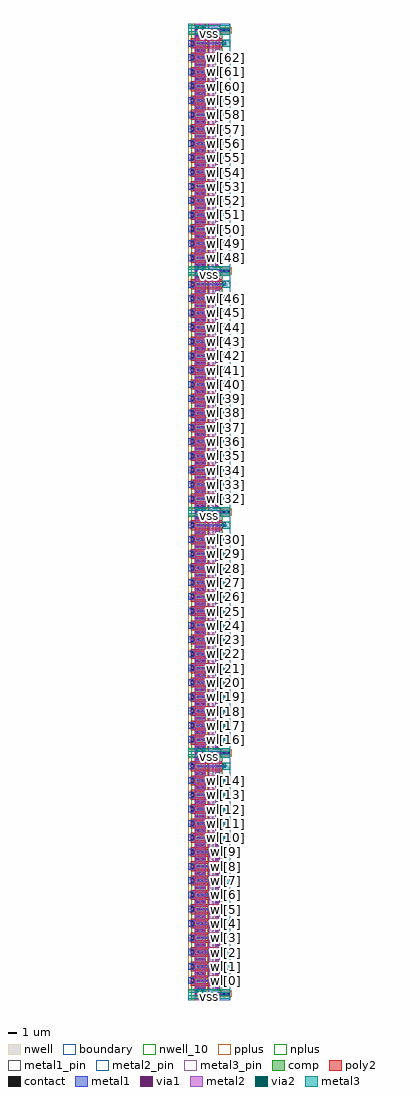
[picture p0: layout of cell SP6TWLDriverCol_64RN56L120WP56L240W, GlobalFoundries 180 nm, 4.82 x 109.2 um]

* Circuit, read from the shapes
.subckt SP6TWLDriverCol_64RN56L120WP56L240W vdd vss wl[0] wl[10] wl[11] wl[12] wl[13] wl[14] wl[15] wl[16] wl[17] wl[18] wl[19] wl[1] wl[20] wl[21] wl[22] wl[23] wl[24] wl[25] wl[26] wl[27] wl[28] wl[29] wl[2] wl[30] wl[31] wl[32] wl[33] wl[34] wl[35] wl[36] wl[37] wl[38] wl[39] wl[3] wl[40] wl[41] wl[42] wl[43] wl[44] wl[45] wl[46] wl[47] wl[48] wl[49] wl[4] wl[50] wl[51] wl[52] wl[53] wl[54] wl[55] wl[56] wl[57] wl[58] wl[59] wl[5] wl[60] wl[61] wl[62] wl[63] wl[6] wl[7] wl[8] wl[9] wl_n[0] wl_n[10] wl_n[11] wl_n[12] wl_n[13] wl_n[14] wl_n[15] wl_n[16] wl_n[17] wl_n[18] wl_n[19] wl_n[1] wl_n[20] wl_n[21] wl_n[22] wl_n[23] wl_n[24] wl_n[25] wl_n[26] wl_n[27] wl_n[28] wl_n[29] wl_n[2] wl_n[30] wl_n[31] wl_n[32] wl_n[33] wl_n[34] wl_n[35] wl_n[36] wl_n[37] wl_n[38] wl_n[39] wl_n[3] wl_n[40] wl_n[41] wl_n[42] wl_n[43] wl_n[44] wl_n[45] wl_n[46] wl_n[47] wl_n[48] wl_n[49] wl_n[4] wl_n[50] wl_n[51] wl_n[52] wl_n[53] wl_n[54] wl_n[55] wl_n[56] wl_n[57] wl_n[58] wl_n[59] wl_n[5] wl_n[60] wl_n[61] wl_n[62] wl_n[63] wl_n[6] wl_n[7] wl_n[8] wl_n[9]
XM1 wl[0] wl_n[0] vss vss nfet_03v3 w=0.6u l=0.28u m=2
XM2 wl[1] wl_n[1] vss vss nfet_03v3 w=0.6u l=0.28u m=2
XM3 wl[2] wl_n[2] vss vss nfet_03v3 w=0.6u l=0.28u m=2
XM4 wl[3] wl_n[3] vss vss nfet_03v3 w=0.6u l=0.28u m=2
XM5 wl[4] wl_n[4] vss vss nfet_03v3 w=0.6u l=0.28u m=2
XM6 wl[5] wl_n[5] vss vss nfet_03v3 w=0.6u l=0.28u m=2
XM7 wl[6] wl_n[6] vss vss nfet_03v3 w=0.6u l=0.28u m=2
XM8 wl[7] wl_n[7] vss vss nfet_03v3 w=0.6u l=0.28u m=2
XM9 wl[8] wl_n[8] vss vss nfet_03v3 w=0.6u l=0.28u m=2
XM10 wl[9] wl_n[9] vss vss nfet_03v3 w=0.6u l=0.28u m=2
XM11 wl[10] wl_n[10] vss vss nfet_03v3 w=0.6u l=0.28u m=2
XM12 wl[11] wl_n[11] vss vss nfet_03v3 w=0.6u l=0.28u m=2
XM13 wl[12] wl_n[12] vss vss nfet_03v3 w=0.6u l=0.28u m=2
XM14 wl[13] wl_n[13] vss vss nfet_03v3 w=0.6u l=0.28u m=2
XM15 wl[14] wl_n[14] vss vss nfet_03v3 w=0.6u l=0.28u m=2
XM16 wl[15] wl_n[15] vss vss nfet_03v3 w=0.6u l=0.28u m=2
XM17 wl[16] wl_n[16] vss vss nfet_03v3 w=0.6u l=0.28u m=2
XM18 wl[17] wl_n[17] vss vss nfet_03v3 w=0.6u l=0.28u m=2
XM19 wl[18] wl_n[18] vss vss nfet_03v3 w=0.6u l=0.28u m=2
XM20 wl[19] wl_n[19] vss vss nfet_03v3 w=0.6u l=0.28u m=2
XM21 wl[20] wl_n[20] vss vss nfet_03v3 w=0.6u l=0.28u m=2
XM22 wl[21] wl_n[21] vss vss nfet_03v3 w=0.6u l=0.28u m=2
XM23 wl[22] wl_n[22] vss vss nfet_03v3 w=0.6u l=0.28u m=2
XM24 wl[23] wl_n[23] vss vss nfet_03v3 w=0.6u l=0.28u m=2
XM25 wl[24] wl_n[24] vss vss nfet_03v3 w=0.6u l=0.28u m=2
XM26 wl[25] wl_n[25] vss vss nfet_03v3 w=0.6u l=0.28u m=2
XM27 wl[26] wl_n[26] vss vss nfet_03v3 w=0.6u l=0.28u m=2
XM28 wl[27] wl_n[27] vss vss nfet_03v3 w=0.6u l=0.28u m=2
XM29 wl[28] wl_n[28] vss vss nfet_03v3 w=0.6u l=0.28u m=2
XM30 wl[29] wl_n[29] vss vss nfet_03v3 w=0.6u l=0.28u m=2
XM31 wl[30] wl_n[30] vss vss nfet_03v3 w=0.6u l=0.28u m=2
XM32 wl[31] wl_n[31] vss vss nfet_03v3 w=0.6u l=0.28u m=2
XM33 wl[32] wl_n[32] vss vss nfet_03v3 w=0.6u l=0.28u m=2
XM34 wl[33] wl_n[33] vss vss nfet_03v3 w=0.6u l=0.28u m=2
XM35 wl[34] wl_n[34] vss vss nfet_03v3 w=0.6u l=0.28u m=2
XM36 wl[35] wl_n[35] vss vss nfet_03v3 w=0.6u l=0.28u m=2
XM37 wl[36] wl_n[36] vss vss nfet_03v3 w=0.6u l=0.28u m=2
XM38 wl[37] wl_n[37] vss vss nfet_03v3 w=0.6u l=0.28u m=2
XM39 wl[38] wl_n[38] vss vss nfet_03v3 w=0.6u l=0.28u m=2
XM40 wl[39] wl_n[39] vss vss nfet_03v3 w=0.6u l=0.28u m=2
XM41 wl[40] wl_n[40] vss vss nfet_03v3 w=0.6u l=0.28u m=2
XM42 wl[41] wl_n[41] vss vss nfet_03v3 w=0.6u l=0.28u m=2
XM43 wl[42] wl_n[42] vss vss nfet_03v3 w=0.6u l=0.28u m=2
XM44 wl[43] wl_n[43] vss vss nfet_03v3 w=0.6u l=0.28u m=2
XM45 wl[44] wl_n[44] vss vss nfet_03v3 w=0.6u l=0.28u m=2
XM46 wl[45] wl_n[45] vss vss nfet_03v3 w=0.6u l=0.28u m=2
XM47 wl[46] wl_n[46] vss vss nfet_03v3 w=0.6u l=0.28u m=2
XM48 wl[47] wl_n[47] vss vss nfet_03v3 w=0.6u l=0.28u m=2
XM49 wl[48] wl_n[48] vss vss nfet_03v3 w=0.6u l=0.28u m=2
XM50 wl[49] wl_n[49] vss vss nfet_03v3 w=0.6u l=0.28u m=2
XM51 wl[50] wl_n[50] vss vss nfet_03v3 w=0.6u l=0.28u m=2
XM52 wl[51] wl_n[51] vss vss nfet_03v3 w=0.6u l=0.28u m=2
XM53 wl[52] wl_n[52] vss vss nfet_03v3 w=0.6u l=0.28u m=2
XM54 wl[53] wl_n[53] vss vss nfet_03v3 w=0.6u l=0.28u m=2
XM55 wl[54] wl_n[54] vss vss nfet_03v3 w=0.6u l=0.28u m=2
XM56 wl[55] wl_n[55] vss vss nfet_03v3 w=0.6u l=0.28u m=2
XM57 wl[56] wl_n[56] vss vss nfet_03v3 w=0.6u l=0.28u m=2
XM58 wl[57] wl_n[57] vss vss nfet_03v3 w=0.6u l=0.28u m=2
XM59 wl[58] wl_n[58] vss vss nfet_03v3 w=0.6u l=0.28u m=2
XM60 wl[59] wl_n[59] vss vss nfet_03v3 w=0.6u l=0.28u m=2
XM61 wl[60] wl_n[60] vss vss nfet_03v3 w=0.6u l=0.28u m=2
XM62 wl[61] wl_n[61] vss vss nfet_03v3 w=0.6u l=0.28u m=2
XM63 wl[62] wl_n[62] vss vss nfet_03v3 w=0.6u l=0.28u m=2
XM64 wl[63] wl_n[63] vss vss nfet_03v3 w=0.6u l=0.28u m=2
XM65 wl[0] wl_n[0] vdd vdd pfet_03v3 w=1.2u l=0.28u m=2
XM66 wl[1] wl_n[1] vdd vdd pfet_03v3 w=1.2u l=0.28u m=2
XM67 wl[2] wl_n[2] vdd vdd pfet_03v3 w=1.2u l=0.28u m=2
XM68 wl[3] wl_n[3] vdd vdd pfet_03v3 w=1.2u l=0.28u m=2
XM69 wl[4] wl_n[4] vdd vdd pfet_03v3 w=1.2u l=0.28u m=2
XM70 wl[5] wl_n[5] vdd vdd pfet_03v3 w=1.2u l=0.28u m=2
XM71 wl[6] wl_n[6] vdd vdd pfet_03v3 w=1.2u l=0.28u m=2
XM72 wl[7] wl_n[7] vdd vdd pfet_03v3 w=1.2u l=0.28u m=2
XM73 wl[8] wl_n[8] vdd vdd pfet_03v3 w=1.2u l=0.28u m=2
XM74 wl[9] wl_n[9] vdd vdd pfet_03v3 w=1.2u l=0.28u m=2
XM75 wl[10] wl_n[10] vdd vdd pfet_03v3 w=1.2u l=0.28u m=2
XM76 wl[11] wl_n[11] vdd vdd pfet_03v3 w=1.2u l=0.28u m=2
XM77 wl[12] wl_n[12] vdd vdd pfet_03v3 w=1.2u l=0.28u m=2
XM78 wl[13] wl_n[13] vdd vdd pfet_03v3 w=1.2u l=0.28u m=2
XM79 wl[14] wl_n[14] vdd vdd pfet_03v3 w=1.2u l=0.28u m=2
XM80 wl[15] wl_n[15] vdd vdd pfet_03v3 w=1.2u l=0.28u m=2
XM81 wl[16] wl_n[16] vdd vdd pfet_03v3 w=1.2u l=0.28u m=2
XM82 wl[17] wl_n[17] vdd vdd pfet_03v3 w=1.2u l=0.28u m=2
XM83 wl[18] wl_n[18] vdd vdd pfet_03v3 w=1.2u l=0.28u m=2
XM84 wl[19] wl_n[19] vdd vdd pfet_03v3 w=1.2u l=0.28u m=2
XM85 wl[20] wl_n[20] vdd vdd pfet_03v3 w=1.2u l=0.28u m=2
XM86 wl[21] wl_n[21] vdd vdd pfet_03v3 w=1.2u l=0.28u m=2
XM87 wl[22] wl_n[22] vdd vdd pfet_03v3 w=1.2u l=0.28u m=2
XM88 wl[23] wl_n[23] vdd vdd pfet_03v3 w=1.2u l=0.28u m=2
XM89 wl[24] wl_n[24] vdd vdd pfet_03v3 w=1.2u l=0.28u m=2
XM90 wl[25] wl_n[25] vdd vdd pfet_03v3 w=1.2u l=0.28u m=2
XM91 wl[26] wl_n[26] vdd vdd pfet_03v3 w=1.2u l=0.28u m=2
XM92 wl[27] wl_n[27] vdd vdd pfet_03v3 w=1.2u l=0.28u m=2
XM93 wl[28] wl_n[28] vdd vdd pfet_03v3 w=1.2u l=0.28u m=2
XM94 wl[29] wl_n[29] vdd vdd pfet_03v3 w=1.2u l=0.28u m=2
XM95 wl[30] wl_n[30] vdd vdd pfet_03v3 w=1.2u l=0.28u m=2
XM96 wl[31] wl_n[31] vdd vdd pfet_03v3 w=1.2u l=0.28u m=2
XM97 wl[32] wl_n[32] vdd vdd pfet_03v3 w=1.2u l=0.28u m=2
XM98 wl[33] wl_n[33] vdd vdd pfet_03v3 w=1.2u l=0.28u m=2
XM99 wl[34] wl_n[34] vdd vdd pfet_03v3 w=1.2u l=0.28u m=2
XM100 wl[35] wl_n[35] vdd vdd pfet_03v3 w=1.2u l=0.28u m=2
XM101 wl[36] wl_n[36] vdd vdd pfet_03v3 w=1.2u l=0.28u m=2
XM102 wl[37] wl_n[37] vdd vdd pfet_03v3 w=1.2u l=0.28u m=2
XM103 wl[38] wl_n[38] vdd vdd pfet_03v3 w=1.2u l=0.28u m=2
XM104 wl[39] wl_n[39] vdd vdd pfet_03v3 w=1.2u l=0.28u m=2
XM105 wl[40] wl_n[40] vdd vdd pfet_03v3 w=1.2u l=0.28u m=2
XM106 wl[41] wl_n[41] vdd vdd pfet_03v3 w=1.2u l=0.28u m=2
XM107 wl[42] wl_n[42] vdd vdd pfet_03v3 w=1.2u l=0.28u m=2
XM108 wl[43] wl_n[43] vdd vdd pfet_03v3 w=1.2u l=0.28u m=2
XM109 wl[44] wl_n[44] vdd vdd pfet_03v3 w=1.2u l=0.28u m=2
XM110 wl[45] wl_n[45] vdd vdd pfet_03v3 w=1.2u l=0.28u m=2
XM111 wl[46] wl_n[46] vdd vdd pfet_03v3 w=1.2u l=0.28u m=2
XM112 wl[47] wl_n[47] vdd vdd pfet_03v3 w=1.2u l=0.28u m=2
XM113 wl[48] wl_n[48] vdd vdd pfet_03v3 w=1.2u l=0.28u m=2
XM114 wl[49] wl_n[49] vdd vdd pfet_03v3 w=1.2u l=0.28u m=2
XM115 wl[50] wl_n[50] vdd vdd pfet_03v3 w=1.2u l=0.28u m=2
XM116 wl[51] wl_n[51] vdd vdd pfet_03v3 w=1.2u l=0.28u m=2
XM117 wl[52] wl_n[52] vdd vdd pfet_03v3 w=1.2u l=0.28u m=2
XM118 wl[53] wl_n[53] vdd vdd pfet_03v3 w=1.2u l=0.28u m=2
XM119 wl[54] wl_n[54] vdd vdd pfet_03v3 w=1.2u l=0.28u m=2
XM120 wl[55] wl_n[55] vdd vdd pfet_03v3 w=1.2u l=0.28u m=2
XM121 wl[56] wl_n[56] vdd vdd pfet_03v3 w=1.2u l=0.28u m=2
XM122 wl[57] wl_n[57] vdd vdd pfet_03v3 w=1.2u l=0.28u m=2
XM123 wl[58] wl_n[58] vdd vdd pfet_03v3 w=1.2u l=0.28u m=2
XM124 wl[59] wl_n[59] vdd vdd pfet_03v3 w=1.2u l=0.28u m=2
XM125 wl[60] wl_n[60] vdd vdd pfet_03v3 w=1.2u l=0.28u m=2
XM126 wl[61] wl_n[61] vdd vdd pfet_03v3 w=1.2u l=0.28u m=2
XM127 wl[62] wl_n[62] vdd vdd pfet_03v3 w=1.2u l=0.28u m=2
XM128 wl[63] wl_n[63] vdd vdd pfet_03v3 w=1.2u l=0.28u m=2
.ends

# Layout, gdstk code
import gdstk
lib = gdstk.Library(unit=1e-6, precision=1e-09)
def R(c, l, rs):  # rectangles x0, y0, x1, y1
    for r in rs: c.add(gdstk.rectangle(r[:2], r[2:], *l))
def A(c, l, x, y, w, h, nx, ny, dx, dy):  # array of equal rectangles
    R(c, l, [(x+i*dx, y+j*dy, x+i*dx+w, y+j*dy+h) for i in range(nx) for j in range(ny)])
def P(c, l, *ps):  # polygons
    for p in ps: c.add(gdstk.Polygon(p, *l))
boundary = (0, 0)
nwell = (21, 0)
nwell_10 = (21, 10)
comp = (22, 0)
poly2 = (30, 0)
pplus = (31, 0)
nplus = (32, 0)
contact = (33, 0)
metal1 = (34, 0)
metal1_pin = (34, 10)
via1 = (35, 0)
metal2 = (36, 0)
metal2_pin = (36, 10)
via2 = (38, 0)
metal3 = (42, 0)
metal3_pin = (42, 10)

sp6twldriverbc_n56l120wp = lib.new_cell('SP6TWLDriverBC_N56L120WP56L240W')
R(sp6twldriverbc_n56l120wp, boundary, [(-4.66,0,0,1.36)])
R(sp6twldriverbc_n56l120wp, nwell, [(-4.37,0,-2.31,1.36)])
R(sp6twldriverbc_n56l120wp, nwell_10, [(-4.37,0,-2.31,1.36)])
R(sp6twldriverbc_n56l120wp, comp, [(-3.77,0.5,-2.91,0.86), (-0.86,0.5,0,0.86)])
R(sp6twldriverbc_n56l120wp, pplus, [(-1.02,0.34,0.16,1.02)])
R(sp6twldriverbc_n56l120wp, nplus, [(-3.93,0.34,-2.75,1.02)])
R(sp6twldriverbc_n56l120wp, contact, [(-3.7,0.57,-3.48,0.79), (-3.2,0.57,-2.98,0.79), (-0.79,0.57,-0.57,0.79), (-0.29,0.57,-0.07,0.79)])
R(sp6twldriverbc_n56l120wp, metal1, [(-3.84,0.55,-2.84,0.81)])
P(sp6twldriverbc_n56l120wp, metal1, [(-2.275,0.55),(-2.275,0.81),(-1.275,0.81),(-1.275,0.795),(0,0.795),(0,0.565),(-1.275,0.565),(-1.275,0.55)])
R(sp6twldriverbc_n56l120wp, via1, [(-3.78,0.55,-3.52,0.81), (-3.16,0.55,-2.9,0.81), (-2.215,0.55,-1.955,0.81), (-1.595,0.55,-1.335,0.81)])
R(sp6twldriverbc_n56l120wp, metal2, [(-3.94,0,-2.74,1.36), (-2.46,0,-1.09,1.36)])
R(sp6twldriverbc_n56l120wp, metal2_pin, [(-3.94,0,-2.74,1.36), (-2.46,0,-1.09,1.36)])
R(sp6twldriverbc_n56l120wp, via2, [(-2.215,0.21,-1.955,0.47), (-1.595,0.21,-1.335,0.47), (-3.78,0.89,-3.52,1.15), (-3.16,0.89,-2.9,1.15)])
R(sp6twldriverbc_n56l120wp, metal3, [(-4.66,0.14,0,0.54), (-4.66,0.82,0,1.22)])
R(sp6twldriverbc_n56l120wp, metal3_pin, [(-4.66,0.14,0,0.54), (-4.66,0.82,0,1.22)])
sp6twldriverbc_n56l120wp.add(gdstk.Label('vss', (-2.33,0.34), layer=42, texttype=10))
sp6twldriverbc_n56l120wp.add(gdstk.Label('vdd', (-2.33,1.02), layer=42, texttype=10))
sp6twldriverbc_n56l120wp.add(gdstk.Label('vss', (-1.775,0.68), layer=36, texttype=10))
sp6twldriverbc_n56l120wp.add(gdstk.Label('vdd', (-3.34,0.68), layer=36, texttype=10))
sp6twldriverbc_n56l120wp.add(gdstk.Label('vdd', (-3.34,0.68), layer=21, texttype=10))

sp6twldriver_n56l120wp56 = lib.new_cell('SP6TWLDriver_N56L120WP56L240W')
R(sp6twldriver_n56l120wp56, boundary, [(-4.66,0,0,1.6)])
R(sp6twldriver_n56l120wp56, nwell, [(-4.37,-0.61,-2.31,2.21)])
R(sp6twldriver_n56l120wp56, nwell_10, [(-4.37,-0.61,-2.31,2.21)])
R(sp6twldriver_n56l120wp56, comp, [(-3.94,-0.18,-2.74,1.78), (-3.94,-0.18,-2.74,1.78), (-1.69,-0.18,-1.09,1.78), (-1.69,-0.18,-1.09,1.78)])
P(sp6twldriver_n56l120wp56, poly2, [(-4.4,0.26),(-4.4,1.34),(-0.87,1.34),(-0.87,1.06),(-4.04,1.06),(-4.04,0.54),(-0.87,0.54),(-0.87,0.26)])
R(sp6twldriver_n56l120wp56, pplus, [(-4.66,-0.34,-2.51,1.94)])
R(sp6twldriver_n56l120wp56, nplus, [(-1.92,-0.34,-0.86,1.94)])
A(sp6twldriver_n56l120wp56, contact, -3.7, -0.11, 0.22, 0.22, 1, 3, 0, 0.8)
A(sp6twldriver_n56l120wp56, contact, -3.2, -0.11, 0.22, 0.22, 1, 3, 0, 0.8)
A(sp6twldriver_n56l120wp56, contact, -1.5, -0.11, 0.22, 0.22, 1, 3, 0, 0.8)
R(sp6twldriver_n56l120wp56, contact, [(-4.33,0.44,-4.11,0.66), (-4.33,0.94,-4.11,1.16)])
R(sp6twldriver_n56l120wp56, metal1, [(-3.94,-0.13,-2.74,0.13), (-1.69,-0.13,-1.09,0.13), (-4.66,0.435,-4.05,1.165), (-3.76,0.67,-0.43,0.93), (-3.94,1.47,-2.74,1.73), (-1.69,1.47,-1.09,1.73)])
R(sp6twldriver_n56l120wp56, metal1_pin, [(-4.66,0.435,-4.05,1.165)])
R(sp6twldriver_n56l120wp56, via1, [(-3.78,-0.13,-3.52,0.13), (-3.16,-0.13,-2.9,0.13), (-1.52,-0.13,-1.26,0.13), (-0.75,0.67,-0.49,0.93), (-3.78,1.47,-3.52,1.73), (-3.16,1.47,-2.9,1.73), (-1.52,1.47,-1.26,1.73)])
R(sp6twldriver_n56l120wp56, metal2, [(-3.94,-0.14,-2.74,1.74), (-2.46,-0.14,-1.09,1.74), (-0.76,0.61,-0.48,1.13)])
R(sp6twldriver_n56l120wp56, metal2_pin, [(-3.94,-0.14,-2.74,1.74), (-2.46,-0.14,-1.09,1.74)])
R(sp6twldriver_n56l120wp56, via2, [(-0.75,0.67,-0.49,0.93)])
R(sp6twldriver_n56l120wp56, metal3, [(-0.81,0.42,0,1.18)])
R(sp6twldriver_n56l120wp56, metal3_pin, [(-0.81,0.42,0,1.18)])
sp6twldriver_n56l120wp56.add(gdstk.Label('wl_drive', (-0.405,0.8), layer=42, texttype=10))
sp6twldriver_n56l120wp56.add(gdstk.Label('vss', (-1.775,0.8), layer=36, texttype=10))
sp6twldriver_n56l120wp56.add(gdstk.Label('vdd', (-3.34,0.8), layer=36, texttype=10))
sp6twldriver_n56l120wp56.add(gdstk.Label('wl_n', (-4.355,0.8), layer=34, texttype=10))
sp6twldriver_n56l120wp56.add(gdstk.Label('nwell', (-3.34,0.8), layer=21, texttype=10))

sp6twldrivercol_64rn56l1 = lib.new_cell('SP6TWLDriverCol_64RN56L120WP56L240W')
R(sp6twldrivercol_64rn56l1, boundary, [(0,0,4.66,109.2)])
A(sp6twldrivercol_64rn56l1, metal1, 0, 1.795, 0.61, 0.73, 1, 16, 0, 1.6)
A(sp6twldrivercol_64rn56l1, metal1, 0, 28.755, 0.61, 0.73, 1, 16, 0, 1.6)
A(sp6twldrivercol_64rn56l1, metal1, 0, 55.715, 0.61, 0.73, 1, 16, 0, 1.6)
A(sp6twldrivercol_64rn56l1, metal1, 0, 82.675, 0.61, 0.73, 1, 16, 0, 1.6)
A(sp6twldrivercol_64rn56l1, metal1_pin, 0, 1.795, 0.61, 0.73, 1, 16, 0, 1.6)
A(sp6twldrivercol_64rn56l1, metal1_pin, 0, 28.755, 0.61, 0.73, 1, 16, 0, 1.6)
A(sp6twldrivercol_64rn56l1, metal1_pin, 0, 55.715, 0.61, 0.73, 1, 16, 0, 1.6)
A(sp6twldrivercol_64rn56l1, metal1_pin, 0, 82.675, 0.61, 0.73, 1, 16, 0, 1.6)
R(sp6twldrivercol_64rn56l1, metal2, [(0.72,0,1.92,109.2), (2.2,0,3.57,109.2)])
R(sp6twldrivercol_64rn56l1, metal2_pin, [(0.72,0,1.92,109.2), (2.2,0,3.57,109.2)])
A(sp6twldrivercol_64rn56l1, metal3, 3.85, 1.78, 0.81, 0.76, 1, 16, 0, 1.6)
A(sp6twldrivercol_64rn56l1, metal3, 3.85, 28.74, 0.81, 0.76, 1, 16, 0, 1.6)
A(sp6twldrivercol_64rn56l1, metal3, 3.85, 55.7, 0.81, 0.76, 1, 16, 0, 1.6)
A(sp6twldrivercol_64rn56l1, metal3, 3.85, 82.66, 0.81, 0.76, 1, 16, 0, 1.6)
R(sp6twldrivercol_64rn56l1, metal3, [(0,0.14,4.66,0.54), (0,0.82,4.66,1.22), (0,27.1,4.66,27.5), (0,27.78,4.66,28.18), (0,54.06,4.66,54.46), (0,54.74,4.66,55.14), (0,81.02,4.66,81.42), (0,81.7,4.66,82.1), (0,107.98,4.66,108.38), (0,108.66,4.66,109.06)])
A(sp6twldrivercol_64rn56l1, metal3_pin, 3.85, 1.78, 0.81, 0.76, 1, 16, 0, 1.6)
A(sp6twldrivercol_64rn56l1, metal3_pin, 3.85, 28.74, 0.81, 0.76, 1, 16, 0, 1.6)
A(sp6twldrivercol_64rn56l1, metal3_pin, 3.85, 55.7, 0.81, 0.76, 1, 16, 0, 1.6)
A(sp6twldrivercol_64rn56l1, metal3_pin, 3.85, 82.66, 0.81, 0.76, 1, 16, 0, 1.6)
R(sp6twldrivercol_64rn56l1, metal3_pin, [(0,0.14,4.66,0.54), (0,0.82,4.66,1.22), (0,27.1,4.66,27.5), (0,27.78,4.66,28.18), (0,54.06,4.66,54.46), (0,54.74,4.66,55.14), (0,81.02,4.66,81.42), (0,81.7,4.66,82.1), (0,107.98,4.66,108.38), (0,108.66,4.66,109.06)])
sp6twldrivercol_64rn56l1.add(gdstk.Reference(sp6twldriverbc_n56l120wp, (4.66,0)))
sp6twldrivercol_64rn56l1.add(gdstk.Reference(sp6twldriver_n56l120wp56, (4.66,2.96), x_reflection=True))
sp6twldrivercol_64rn56l1.add(gdstk.Reference(sp6twldriver_n56l120wp56, (4.66,2.96)))
sp6twldrivercol_64rn56l1.add(gdstk.Reference(sp6twldriver_n56l120wp56, (4.66,6.16), x_reflection=True))
sp6twldrivercol_64rn56l1.add(gdstk.Reference(sp6twldriver_n56l120wp56, (4.66,6.16)))
sp6twldrivercol_64rn56l1.add(gdstk.Reference(sp6twldriver_n56l120wp56, (4.66,9.36), x_reflection=True))
sp6twldrivercol_64rn56l1.add(gdstk.Reference(sp6twldriver_n56l120wp56, (4.66,9.36)))
sp6twldrivercol_64rn56l1.add(gdstk.Reference(sp6twldriver_n56l120wp56, (4.66,12.56), x_reflection=True))
sp6twldrivercol_64rn56l1.add(gdstk.Reference(sp6twldriver_n56l120wp56, (4.66,12.56)))
sp6twldrivercol_64rn56l1.add(gdstk.Reference(sp6twldriver_n56l120wp56, (4.66,15.76), x_reflection=True))
sp6twldrivercol_64rn56l1.add(gdstk.Reference(sp6twldriver_n56l120wp56, (4.66,15.76)))
sp6twldrivercol_64rn56l1.add(gdstk.Reference(sp6twldriver_n56l120wp56, (4.66,18.96), x_reflection=True))
sp6twldrivercol_64rn56l1.add(gdstk.Reference(sp6twldriver_n56l120wp56, (4.66,18.96)))
sp6twldrivercol_64rn56l1.add(gdstk.Reference(sp6twldriver_n56l120wp56, (4.66,22.16), x_reflection=True))
sp6twldrivercol_64rn56l1.add(gdstk.Reference(sp6twldriver_n56l120wp56, (4.66,22.16)))
sp6twldrivercol_64rn56l1.add(gdstk.Reference(sp6twldriver_n56l120wp56, (4.66,25.36), x_reflection=True))
sp6twldrivercol_64rn56l1.add(gdstk.Reference(sp6twldriver_n56l120wp56, (4.66,25.36)))
sp6twldrivercol_64rn56l1.add(gdstk.Reference(sp6twldriverbc_n56l120wp, (4.66,26.96)))
sp6twldrivercol_64rn56l1.add(gdstk.Reference(sp6twldriver_n56l120wp56, (4.66,29.92), x_reflection=True))
sp6twldrivercol_64rn56l1.add(gdstk.Reference(sp6twldriver_n56l120wp56, (4.66,29.92)))
sp6twldrivercol_64rn56l1.add(gdstk.Reference(sp6twldriver_n56l120wp56, (4.66,33.12), x_reflection=True))
sp6twldrivercol_64rn56l1.add(gdstk.Reference(sp6twldriver_n56l120wp56, (4.66,33.12)))
sp6twldrivercol_64rn56l1.add(gdstk.Reference(sp6twldriver_n56l120wp56, (4.66,36.32), x_reflection=True))
sp6twldrivercol_64rn56l1.add(gdstk.Reference(sp6twldriver_n56l120wp56, (4.66,36.32)))
sp6twldrivercol_64rn56l1.add(gdstk.Reference(sp6twldriver_n56l120wp56, (4.66,39.52), x_reflection=True))
sp6twldrivercol_64rn56l1.add(gdstk.Reference(sp6twldriver_n56l120wp56, (4.66,39.52)))
sp6twldrivercol_64rn56l1.add(gdstk.Reference(sp6twldriver_n56l120wp56, (4.66,42.72), x_reflection=True))
sp6twldrivercol_64rn56l1.add(gdstk.Reference(sp6twldriver_n56l120wp56, (4.66,42.72)))
sp6twldrivercol_64rn56l1.add(gdstk.Reference(sp6twldriver_n56l120wp56, (4.66,45.92), x_reflection=True))
sp6twldrivercol_64rn56l1.add(gdstk.Reference(sp6twldriver_n56l120wp56, (4.66,45.92)))
sp6twldrivercol_64rn56l1.add(gdstk.Reference(sp6twldriver_n56l120wp56, (4.66,49.12), x_reflection=True))
sp6twldrivercol_64rn56l1.add(gdstk.Reference(sp6twldriver_n56l120wp56, (4.66,49.12)))
sp6twldrivercol_64rn56l1.add(gdstk.Reference(sp6twldriver_n56l120wp56, (4.66,52.32), x_reflection=True))
sp6twldrivercol_64rn56l1.add(gdstk.Reference(sp6twldriver_n56l120wp56, (4.66,52.32)))
sp6twldrivercol_64rn56l1.add(gdstk.Reference(sp6twldriverbc_n56l120wp, (4.66,53.92)))
sp6twldrivercol_64rn56l1.add(gdstk.Reference(sp6twldriver_n56l120wp56, (4.66,56.88), x_reflection=True))
sp6twldrivercol_64rn56l1.add(gdstk.Reference(sp6twldriver_n56l120wp56, (4.66,56.88)))
sp6twldrivercol_64rn56l1.add(gdstk.Reference(sp6twldriver_n56l120wp56, (4.66,60.08), x_reflection=True))
sp6twldrivercol_64rn56l1.add(gdstk.Reference(sp6twldriver_n56l120wp56, (4.66,60.08)))
sp6twldrivercol_64rn56l1.add(gdstk.Reference(sp6twldriver_n56l120wp56, (4.66,63.28), x_reflection=True))
sp6twldrivercol_64rn56l1.add(gdstk.Reference(sp6twldriver_n56l120wp56, (4.66,63.28)))
sp6twldrivercol_64rn56l1.add(gdstk.Reference(sp6twldriver_n56l120wp56, (4.66,66.48), x_reflection=True))
sp6twldrivercol_64rn56l1.add(gdstk.Reference(sp6twldriver_n56l120wp56, (4.66,66.48)))
sp6twldrivercol_64rn56l1.add(gdstk.Reference(sp6twldriver_n56l120wp56, (4.66,69.68), x_reflection=True))
sp6twldrivercol_64rn56l1.add(gdstk.Reference(sp6twldriver_n56l120wp56, (4.66,69.68)))
sp6twldrivercol_64rn56l1.add(gdstk.Reference(sp6twldriver_n56l120wp56, (4.66,72.88), x_reflection=True))
sp6twldrivercol_64rn56l1.add(gdstk.Reference(sp6twldriver_n56l120wp56, (4.66,72.88)))
sp6twldrivercol_64rn56l1.add(gdstk.Reference(sp6twldriver_n56l120wp56, (4.66,76.08), x_reflection=True))
sp6twldrivercol_64rn56l1.add(gdstk.Reference(sp6twldriver_n56l120wp56, (4.66,76.08)))
sp6twldrivercol_64rn56l1.add(gdstk.Reference(sp6twldriver_n56l120wp56, (4.66,79.28), x_reflection=True))
sp6twldrivercol_64rn56l1.add(gdstk.Reference(sp6twldriver_n56l120wp56, (4.66,79.28)))
sp6twldrivercol_64rn56l1.add(gdstk.Reference(sp6twldriverbc_n56l120wp, (4.66,80.88)))
sp6twldrivercol_64rn56l1.add(gdstk.Reference(sp6twldriver_n56l120wp56, (4.66,83.84), x_reflection=True))
sp6twldrivercol_64rn56l1.add(gdstk.Reference(sp6twldriver_n56l120wp56, (4.66,83.84)))
sp6twldrivercol_64rn56l1.add(gdstk.Reference(sp6twldriver_n56l120wp56, (4.66,87.04), x_reflection=True))
sp6twldrivercol_64rn56l1.add(gdstk.Reference(sp6twldriver_n56l120wp56, (4.66,87.04)))
sp6twldrivercol_64rn56l1.add(gdstk.Reference(sp6twldriver_n56l120wp56, (4.66,90.24), x_reflection=True))
sp6twldrivercol_64rn56l1.add(gdstk.Reference(sp6twldriver_n56l120wp56, (4.66,90.24)))
sp6twldrivercol_64rn56l1.add(gdstk.Reference(sp6twldriver_n56l120wp56, (4.66,93.44), x_reflection=True))
sp6twldrivercol_64rn56l1.add(gdstk.Reference(sp6twldriver_n56l120wp56, (4.66,93.44)))
sp6twldrivercol_64rn56l1.add(gdstk.Reference(sp6twldriver_n56l120wp56, (4.66,96.64), x_reflection=True))
sp6twldrivercol_64rn56l1.add(gdstk.Reference(sp6twldriver_n56l120wp56, (4.66,96.64)))
sp6twldrivercol_64rn56l1.add(gdstk.Reference(sp6twldriver_n56l120wp56, (4.66,99.84), x_reflection=True))
sp6twldrivercol_64rn56l1.add(gdstk.Reference(sp6twldriver_n56l120wp56, (4.66,99.84)))
sp6twldrivercol_64rn56l1.add(gdstk.Reference(sp6twldriver_n56l120wp56, (4.66,103.04), x_reflection=True))
sp6twldrivercol_64rn56l1.add(gdstk.Reference(sp6twldriver_n56l120wp56, (4.66,103.04)))
sp6twldrivercol_64rn56l1.add(gdstk.Reference(sp6twldriver_n56l120wp56, (4.66,106.24), x_reflection=True))
sp6twldrivercol_64rn56l1.add(gdstk.Reference(sp6twldriver_n56l120wp56, (4.66,106.24)))
sp6twldrivercol_64rn56l1.add(gdstk.Reference(sp6twldriverbc_n56l120wp, (4.66,107.84)))
sp6twldrivercol_64rn56l1.add(gdstk.Label('vss', (2.33,0.34), layer=42, texttype=10))
sp6twldrivercol_64rn56l1.add(gdstk.Label('vss', (2.33,81.22), layer=42, texttype=10))
sp6twldrivercol_64rn56l1.add(gdstk.Label('vss', (2.33,54.26), layer=42, texttype=10))
sp6twldrivercol_64rn56l1.add(gdstk.Label('vss', (2.33,27.3), layer=42, texttype=10))
sp6twldrivercol_64rn56l1.add(gdstk.Label('vss', (2.33,108.18), layer=42, texttype=10))
sp6twldrivercol_64rn56l1.add(gdstk.Label('vdd', (2.33,1.02), layer=42, texttype=10))
sp6twldrivercol_64rn56l1.add(gdstk.Label('vdd', (2.33,108.86), layer=42, texttype=10))
sp6twldrivercol_64rn56l1.add(gdstk.Label('vdd', (2.33,81.9), layer=42, texttype=10))
sp6twldrivercol_64rn56l1.add(gdstk.Label('vdd', (2.33,54.94), layer=42, texttype=10))
sp6twldrivercol_64rn56l1.add(gdstk.Label('vdd', (2.33,27.98), layer=42, texttype=10))
sp6twldrivercol_64rn56l1.add(gdstk.Label('wl[0]', (4.255,2.16), layer=42, texttype=10))
sp6twldrivercol_64rn56l1.add(gdstk.Label('wl[1]', (4.255,3.76), layer=42, texttype=10))
sp6twldrivercol_64rn56l1.add(gdstk.Label('wl[2]', (4.255,5.36), layer=42, texttype=10))
sp6twldrivercol_64rn56l1.add(gdstk.Label('wl[3]', (4.255,6.96), layer=42, texttype=10))
sp6twldrivercol_64rn56l1.add(gdstk.Label('wl[4]', (4.255,8.56), layer=42, texttype=10))
sp6twldrivercol_64rn56l1.add(gdstk.Label('wl[5]', (4.255,10.16), layer=42, texttype=10))
sp6twldrivercol_64rn56l1.add(gdstk.Label('wl[6]', (4.255,11.76), layer=42, texttype=10))
sp6twldrivercol_64rn56l1.add(gdstk.Label('wl[7]', (4.255,13.36), layer=42, texttype=10))
sp6twldrivercol_64rn56l1.add(gdstk.Label('wl[8]', (4.255,14.96), layer=42, texttype=10))
sp6twldrivercol_64rn56l1.add(gdstk.Label('wl[9]', (4.255,16.56), layer=42, texttype=10))
sp6twldrivercol_64rn56l1.add(gdstk.Label('wl[10]', (4.255,18.16), layer=42, texttype=10))
sp6twldrivercol_64rn56l1.add(gdstk.Label('wl[11]', (4.255,19.76), layer=42, texttype=10))
sp6twldrivercol_64rn56l1.add(gdstk.Label('wl[12]', (4.255,21.36), layer=42, texttype=10))
sp6twldrivercol_64rn56l1.add(gdstk.Label('wl[13]', (4.255,22.96), layer=42, texttype=10))
sp6twldrivercol_64rn56l1.add(gdstk.Label('wl[14]', (4.255,24.56), layer=42, texttype=10))
sp6twldrivercol_64rn56l1.add(gdstk.Label('wl[15]', (4.255,26.16), layer=42, texttype=10))
sp6twldrivercol_64rn56l1.add(gdstk.Label('wl[16]', (4.255,29.12), layer=42, texttype=10))
sp6twldrivercol_64rn56l1.add(gdstk.Label('wl[17]', (4.255,30.72), layer=42, texttype=10))
sp6twldrivercol_64rn56l1.add(gdstk.Label('wl[18]', (4.255,32.32), layer=42, texttype=10))
sp6twldrivercol_64rn56l1.add(gdstk.Label('wl[19]', (4.255,33.92), layer=42, texttype=10))
sp6twldrivercol_64rn56l1.add(gdstk.Label('wl[20]', (4.255,35.52), layer=42, texttype=10))
sp6twldrivercol_64rn56l1.add(gdstk.Label('wl[21]', (4.255,37.12), layer=42, texttype=10))
sp6twldrivercol_64rn56l1.add(gdstk.Label('wl[22]', (4.255,38.72), layer=42, texttype=10))
sp6twldrivercol_64rn56l1.add(gdstk.Label('wl[23]', (4.255,40.32), layer=42, texttype=10))
sp6twldrivercol_64rn56l1.add(gdstk.Label('wl[24]', (4.255,41.92), layer=42, texttype=10))
sp6twldrivercol_64rn56l1.add(gdstk.Label('wl[25]', (4.255,43.52), layer=42, texttype=10))
sp6twldrivercol_64rn56l1.add(gdstk.Label('wl[26]', (4.255,45.12), layer=42, texttype=10))
sp6twldrivercol_64rn56l1.add(gdstk.Label('wl[27]', (4.255,46.72), layer=42, texttype=10))
sp6twldrivercol_64rn56l1.add(gdstk.Label('wl[28]', (4.255,48.32), layer=42, texttype=10))
sp6twldrivercol_64rn56l1.add(gdstk.Label('wl[29]', (4.255,49.92), layer=42, texttype=10))
sp6twldrivercol_64rn56l1.add(gdstk.Label('wl[30]', (4.255,51.52), layer=42, texttype=10))
sp6twldrivercol_64rn56l1.add(gdstk.Label('wl[31]', (4.255,53.12), layer=42, texttype=10))
sp6twldrivercol_64rn56l1.add(gdstk.Label('wl[32]', (4.255,56.08), layer=42, texttype=10))
sp6twldrivercol_64rn56l1.add(gdstk.Label('wl[33]', (4.255,57.68), layer=42, texttype=10))
sp6twldrivercol_64rn56l1.add(gdstk.Label('wl[34]', (4.255,59.28), layer=42, texttype=10))
sp6twldrivercol_64rn56l1.add(gdstk.Label('wl[35]', (4.255,60.88), layer=42, texttype=10))
sp6twldrivercol_64rn56l1.add(gdstk.Label('wl[36]', (4.255,62.48), layer=42, texttype=10))
sp6twldrivercol_64rn56l1.add(gdstk.Label('wl[37]', (4.255,64.08), layer=42, texttype=10))
sp6twldrivercol_64rn56l1.add(gdstk.Label('wl[38]', (4.255,65.68), layer=42, texttype=10))
sp6twldrivercol_64rn56l1.add(gdstk.Label('wl[39]', (4.255,67.28), layer=42, texttype=10))
sp6twldrivercol_64rn56l1.add(gdstk.Label('wl[40]', (4.255,68.88), layer=42, texttype=10))
sp6twldrivercol_64rn56l1.add(gdstk.Label('wl[41]', (4.255,70.48), layer=42, texttype=10))
sp6twldrivercol_64rn56l1.add(gdstk.Label('wl[42]', (4.255,72.08), layer=42, texttype=10))
sp6twldrivercol_64rn56l1.add(gdstk.Label('wl[43]', (4.255,73.68), layer=42, texttype=10))
sp6twldrivercol_64rn56l1.add(gdstk.Label('wl[44]', (4.255,75.28), layer=42, texttype=10))
sp6twldrivercol_64rn56l1.add(gdstk.Label('wl[45]', (4.255,76.88), layer=42, texttype=10))
sp6twldrivercol_64rn56l1.add(gdstk.Label('wl[46]', (4.255,78.48), layer=42, texttype=10))
sp6twldrivercol_64rn56l1.add(gdstk.Label('wl[47]', (4.255,80.08), layer=42, texttype=10))
sp6twldrivercol_64rn56l1.add(gdstk.Label('wl[48]', (4.255,83.04), layer=42, texttype=10))
sp6twldrivercol_64rn56l1.add(gdstk.Label('wl[49]', (4.255,84.64), layer=42, texttype=10))
sp6twldrivercol_64rn56l1.add(gdstk.Label('wl[50]', (4.255,86.24), layer=42, texttype=10))
sp6twldrivercol_64rn56l1.add(gdstk.Label('wl[51]', (4.255,87.84), layer=42, texttype=10))
sp6twldrivercol_64rn56l1.add(gdstk.Label('wl[52]', (4.255,89.44), layer=42, texttype=10))
sp6twldrivercol_64rn56l1.add(gdstk.Label('wl[53]', (4.255,91.04), layer=42, texttype=10))
sp6twldrivercol_64rn56l1.add(gdstk.Label('wl[54]', (4.255,92.64), layer=42, texttype=10))
sp6twldrivercol_64rn56l1.add(gdstk.Label('wl[55]', (4.255,94.24), layer=42, texttype=10))
sp6twldrivercol_64rn56l1.add(gdstk.Label('wl[56]', (4.255,95.84), layer=42, texttype=10))
sp6twldrivercol_64rn56l1.add(gdstk.Label('wl[57]', (4.255,97.44), layer=42, texttype=10))
sp6twldrivercol_64rn56l1.add(gdstk.Label('wl[58]', (4.255,99.04), layer=42, texttype=10))
sp6twldrivercol_64rn56l1.add(gdstk.Label('wl[59]', (4.255,100.64), layer=42, texttype=10))
sp6twldrivercol_64rn56l1.add(gdstk.Label('wl[60]', (4.255,102.24), layer=42, texttype=10))
sp6twldrivercol_64rn56l1.add(gdstk.Label('wl[61]', (4.255,103.84), layer=42, texttype=10))
sp6twldrivercol_64rn56l1.add(gdstk.Label('wl[62]', (4.255,105.44), layer=42, texttype=10))
sp6twldrivercol_64rn56l1.add(gdstk.Label('wl[63]', (4.255,107.04), layer=42, texttype=10))
sp6twldrivercol_64rn56l1.add(gdstk.Label('vss', (2.885,54.6), layer=36, texttype=10))
sp6twldrivercol_64rn56l1.add(gdstk.Label('vdd', (1.32,54.6), layer=36, texttype=10))
sp6twldrivercol_64rn56l1.add(gdstk.Label('wl_n[0]', (0.305,2.16), layer=34, texttype=10))
sp6twldrivercol_64rn56l1.add(gdstk.Label('wl_n[1]', (0.305,3.76), layer=34, texttype=10))
sp6twldrivercol_64rn56l1.add(gdstk.Label('wl_n[2]', (0.305,5.36), layer=34, texttype=10))
sp6twldrivercol_64rn56l1.add(gdstk.Label('wl_n[3]', (0.305,6.96), layer=34, texttype=10))
sp6twldrivercol_64rn56l1.add(gdstk.Label('wl_n[4]', (0.305,8.56), layer=34, texttype=10))
sp6twldrivercol_64rn56l1.add(gdstk.Label('wl_n[5]', (0.305,10.16), layer=34, texttype=10))
sp6twldrivercol_64rn56l1.add(gdstk.Label('wl_n[6]', (0.305,11.76), layer=34, texttype=10))
sp6twldrivercol_64rn56l1.add(gdstk.Label('wl_n[7]', (0.305,13.36), layer=34, texttype=10))
sp6twldrivercol_64rn56l1.add(gdstk.Label('wl_n[8]', (0.305,14.96), layer=34, texttype=10))
sp6twldrivercol_64rn56l1.add(gdstk.Label('wl_n[9]', (0.305,16.56), layer=34, texttype=10))
sp6twldrivercol_64rn56l1.add(gdstk.Label('wl_n[10]', (0.305,18.16), layer=34, texttype=10))
sp6twldrivercol_64rn56l1.add(gdstk.Label('wl_n[11]', (0.305,19.76), layer=34, texttype=10))
sp6twldrivercol_64rn56l1.add(gdstk.Label('wl_n[12]', (0.305,21.36), layer=34, texttype=10))
sp6twldrivercol_64rn56l1.add(gdstk.Label('wl_n[13]', (0.305,22.96), layer=34, texttype=10))
sp6twldrivercol_64rn56l1.add(gdstk.Label('wl_n[14]', (0.305,24.56), layer=34, texttype=10))
sp6twldrivercol_64rn56l1.add(gdstk.Label('wl_n[15]', (0.305,26.16), layer=34, texttype=10))
sp6twldrivercol_64rn56l1.add(gdstk.Label('wl_n[16]', (0.305,29.12), layer=34, texttype=10))
sp6twldrivercol_64rn56l1.add(gdstk.Label('wl_n[17]', (0.305,30.72), layer=34, texttype=10))
sp6twldrivercol_64rn56l1.add(gdstk.Label('wl_n[18]', (0.305,32.32), layer=34, texttype=10))
sp6twldrivercol_64rn56l1.add(gdstk.Label('wl_n[19]', (0.305,33.92), layer=34, texttype=10))
sp6twldrivercol_64rn56l1.add(gdstk.Label('wl_n[20]', (0.305,35.52), layer=34, texttype=10))
sp6twldrivercol_64rn56l1.add(gdstk.Label('wl_n[21]', (0.305,37.12), layer=34, texttype=10))
sp6twldrivercol_64rn56l1.add(gdstk.Label('wl_n[22]', (0.305,38.72), layer=34, texttype=10))
sp6twldrivercol_64rn56l1.add(gdstk.Label('wl_n[23]', (0.305,40.32), layer=34, texttype=10))
sp6twldrivercol_64rn56l1.add(gdstk.Label('wl_n[24]', (0.305,41.92), layer=34, texttype=10))
sp6twldrivercol_64rn56l1.add(gdstk.Label('wl_n[25]', (0.305,43.52), layer=34, texttype=10))
sp6twldrivercol_64rn56l1.add(gdstk.Label('wl_n[26]', (0.305,45.12), layer=34, texttype=10))
sp6twldrivercol_64rn56l1.add(gdstk.Label('wl_n[27]', (0.305,46.72), layer=34, texttype=10))
sp6twldrivercol_64rn56l1.add(gdstk.Label('wl_n[28]', (0.305,48.32), layer=34, texttype=10))
sp6twldrivercol_64rn56l1.add(gdstk.Label('wl_n[29]', (0.305,49.92), layer=34, texttype=10))
sp6twldrivercol_64rn56l1.add(gdstk.Label('wl_n[30]', (0.305,51.52), layer=34, texttype=10))
sp6twldrivercol_64rn56l1.add(gdstk.Label('wl_n[31]', (0.305,53.12), layer=34, texttype=10))
sp6twldrivercol_64rn56l1.add(gdstk.Label('wl_n[32]', (0.305,56.08), layer=34, texttype=10))
sp6twldrivercol_64rn56l1.add(gdstk.Label('wl_n[33]', (0.305,57.68), layer=34, texttype=10))
sp6twldrivercol_64rn56l1.add(gdstk.Label('wl_n[34]', (0.305,59.28), layer=34, texttype=10))
sp6twldrivercol_64rn56l1.add(gdstk.Label('wl_n[35]', (0.305,60.88), layer=34, texttype=10))
sp6twldrivercol_64rn56l1.add(gdstk.Label('wl_n[36]', (0.305,62.48), layer=34, texttype=10))
sp6twldrivercol_64rn56l1.add(gdstk.Label('wl_n[37]', (0.305,64.08), layer=34, texttype=10))
sp6twldrivercol_64rn56l1.add(gdstk.Label('wl_n[38]', (0.305,65.68), layer=34, texttype=10))
sp6twldrivercol_64rn56l1.add(gdstk.Label('wl_n[39]', (0.305,67.28), layer=34, texttype=10))
sp6twldrivercol_64rn56l1.add(gdstk.Label('wl_n[40]', (0.305,68.88), layer=34, texttype=10))
sp6twldrivercol_64rn56l1.add(gdstk.Label('wl_n[41]', (0.305,70.48), layer=34, texttype=10))
sp6twldrivercol_64rn56l1.add(gdstk.Label('wl_n[42]', (0.305,72.08), layer=34, texttype=10))
sp6twldrivercol_64rn56l1.add(gdstk.Label('wl_n[43]', (0.305,73.68), layer=34, texttype=10))
sp6twldrivercol_64rn56l1.add(gdstk.Label('wl_n[44]', (0.305,75.28), layer=34, texttype=10))
sp6twldrivercol_64rn56l1.add(gdstk.Label('wl_n[45]', (0.305,76.88), layer=34, texttype=10))
sp6twldrivercol_64rn56l1.add(gdstk.Label('wl_n[46]', (0.305,78.48), layer=34, texttype=10))
sp6twldrivercol_64rn56l1.add(gdstk.Label('wl_n[47]', (0.305,80.08), layer=34, texttype=10))
sp6twldrivercol_64rn56l1.add(gdstk.Label('wl_n[48]', (0.305,83.04), layer=34, texttype=10))
sp6twldrivercol_64rn56l1.add(gdstk.Label('wl_n[49]', (0.305,84.64), layer=34, texttype=10))
sp6twldrivercol_64rn56l1.add(gdstk.Label('wl_n[50]', (0.305,86.24), layer=34, texttype=10))
sp6twldrivercol_64rn56l1.add(gdstk.Label('wl_n[51]', (0.305,87.84), layer=34, texttype=10))
sp6twldrivercol_64rn56l1.add(gdstk.Label('wl_n[52]', (0.305,89.44), layer=34, texttype=10))
sp6twldrivercol_64rn56l1.add(gdstk.Label('wl_n[53]', (0.305,91.04), layer=34, texttype=10))
sp6twldrivercol_64rn56l1.add(gdstk.Label('wl_n[54]', (0.305,92.64), layer=34, texttype=10))
sp6twldrivercol_64rn56l1.add(gdstk.Label('wl_n[55]', (0.305,94.24), layer=34, texttype=10))
sp6twldrivercol_64rn56l1.add(gdstk.Label('wl_n[56]', (0.305,95.84), layer=34, texttype=10))
sp6twldrivercol_64rn56l1.add(gdstk.Label('wl_n[57]', (0.305,97.44), layer=34, texttype=10))
sp6twldrivercol_64rn56l1.add(gdstk.Label('wl_n[58]', (0.305,99.04), layer=34, texttype=10))
sp6twldrivercol_64rn56l1.add(gdstk.Label('wl_n[59]', (0.305,100.64), layer=34, texttype=10))
sp6twldrivercol_64rn56l1.add(gdstk.Label('wl_n[60]', (0.305,102.24), layer=34, texttype=10))
sp6twldrivercol_64rn56l1.add(gdstk.Label('wl_n[61]', (0.305,103.84), layer=34, texttype=10))
sp6twldrivercol_64rn56l1.add(gdstk.Label('wl_n[62]', (0.305,105.44), layer=34, texttype=10))
sp6twldrivercol_64rn56l1.add(gdstk.Label('wl_n[63]', (0.305,107.04), layer=34, texttype=10))

lib.write_gds('SP6TWLDriverCol_64RN56L120WP56L240W.gds')
